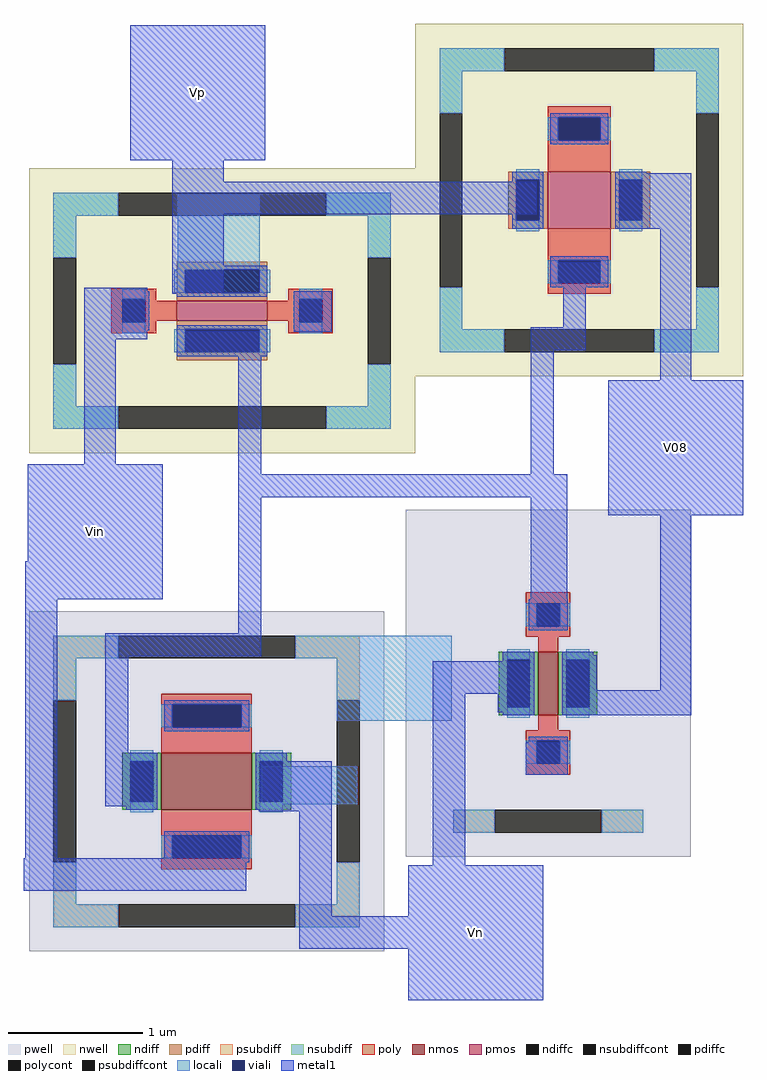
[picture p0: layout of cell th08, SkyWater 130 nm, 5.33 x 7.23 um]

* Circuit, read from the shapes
.subckt th08 Vp V08 Vin Vn
XM1 Vn Vin n1 Vn sky130_fd_pr__nfet_01v8 w=0.42 l=0.67
XM2 V08 n1 Vn Vn sky130_fd_pr__nfet_01v8 w=0.47 l=0.15
XM3 Vp Vin n1 Vp sky130_fd_pr__pfet_01v8 w=0.67 l=0.15
XM4 V08 n1 Vp Vp sky130_fd_pr__pfet_01v8 w=0.42 l=0.47
.ends

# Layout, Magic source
magic
tech sky130A
magscale 1 2
<< locali >>
rect 558 -344 680 -198
rect 794 -978 964 -852
rect 682 -1102 824 -1046
<< metal1 >>
rect 488 -148 688 52
rect 550 -180 626 -148
rect 550 -228 1090 -180
rect 420 -413 513 -337
rect 550 -346 626 -228
rect 1207 -249 1319 -167
rect 1123 -333 1185 -299
rect 420 -598 466 -413
rect 567 -435 682 -401
rect 730 -402 786 -342
rect 1129 -395 1163 -333
rect 336 -742 536 -598
rect 332 -798 536 -742
rect 648 -613 682 -435
rect 1081 -429 1163 -395
rect 1081 -613 1115 -429
rect 1273 -474 1319 -249
rect 648 -647 1135 -613
rect 332 -1182 380 -798
rect 648 -849 682 -647
rect 1081 -837 1135 -647
rect 1196 -674 1396 -474
rect 451 -883 682 -849
rect 451 -1035 485 -883
rect 936 -938 1080 -890
rect 451 -1105 521 -1035
rect 678 -1112 786 -1038
rect 538 -1182 652 -1146
rect 330 -1230 660 -1182
rect 738 -1268 786 -1112
rect 936 -1192 984 -938
rect 1032 -966 1080 -938
rect 1133 -933 1179 -881
rect 1273 -933 1319 -674
rect 1133 -970 1319 -933
rect 1074 -1058 1136 -1010
rect 900 -1268 1100 -1192
rect 738 -1316 1100 -1268
rect 900 -1392 1100 -1316
use sky130_fd_pr__nfet_01v8_LNCAWD  XM0
transform 1 0 601 0 1 -1068
box -263 -252 263 252
use sky130_fd_pr__pfet_01v8_M6KFPY  XM1
transform 0 -1 624 1 0 -371
box -211 -286 211 286
use sky130_fd_pr__pfet_01v8_NZD9V2  XM2
transform 1 0 1153 0 1 -207
box -243 -261 243 261
use sky130_fd_pr__nfet_01v8_NCP4B2  XM3
transform 1 0 1107 0 1 -923
box -211 -257 211 257
<< labels >>
flabel metal1 488 -148 688 52 0 FreeSans 256 0 0 0 Vp
port 0 nsew
flabel metal1 336 -798 536 -598 0 FreeSans 256 0 0 0 Vin
port 2 nsew
flabel metal1 1196 -674 1396 -474 0 FreeSans 256 0 0 0 V08
port 1 nsew
flabel metal1 900 -1392 1100 -1192 0 FreeSans 256 0 0 0 Vn
port 3 nsew
<< end >>

# cell sky130_fd_pr__nfet_01v8_LNCAWD: kit device sky130_fd_pr__nfet_01v8, w 0.42 l 0.67 m 1 nf 1 diffcov 100 polycov 100 guard 1 glc 1 grc 1 gtc 1 gbc 1 tbcov 100 rlcov 100 topc 1 botc 1 poverlap 0 doverlap 1 lmin 0.15 wmin 0.42 compatible {sky130_fd_pr__nfet_01v8 sky130_fd_pr__nfet_01v8_lvt sky130_fd_bs_flash__special_sonosfet_star sky130_fd_pr__nfet_g5v0d10v5 sky130_fd_pr__nfet_05v0_nvt sky130_fd_pr__nfet_03v3_nvt} full_metal 1 viasrc 100 viadrn 100 viagate 100 viagb 0 viagr 0 viagl 0 viagt 0

# cell sky130_fd_pr__pfet_01v8_M6KFPY: kit device sky130_fd_pr__pfet_01v8, w 0.67 l 0.15 m 1 nf 1 diffcov 100 polycov 100 guard 1 glc 1 grc 1 gtc 1 gbc 1 tbcov 100 rlcov 100 topc 1 botc 1 poverlap 0 doverlap 1 lmin 0.15 wmin 0.42 compatible {sky130_fd_pr__pfet_01v8 sky130_fd_pr__pfet_01v8_lvt sky130_fd_pr__pfet_01v8_hvt sky130_fd_pr__pfet_g5v0d10v5} full_metal 1 viasrc 100 viadrn 100 viagate 100 viagb 0 viagr 0 viagl 0 viagt 0

# cell sky130_fd_pr__pfet_01v8_NZD9V2: kit device sky130_fd_pr__pfet_01v8, w 0.42 l 0.47 m 1 nf 1 diffcov 100 polycov 100 guard 1 glc 1 grc 1 gtc 1 gbc 1 tbcov 100 rlcov 100 topc 1 botc 1 poverlap 0 doverlap 1 lmin 0.15 wmin 0.42 compatible {sky130_fd_pr__pfet_01v8 sky130_fd_pr__pfet_01v8_lvt sky130_fd_pr__pfet_01v8_hvt sky130_fd_pr__pfet_g5v0d10v5} full_metal 1 viasrc 100 viadrn 100 viagate 100 viagb 0 viagr 0 viagl 0 viagt 0

# cell sky130_fd_pr__nfet_01v8_NCP4B2: kit device sky130_fd_pr__nfet_01v8, w 0.468 l 0.15 m 1 nf 1 diffcov 100 polycov 100 guard 1 glc 1 grc 1 gtc 1 gbc 1 tbcov 100 rlcov 100 topc 1 botc 1 poverlap 0 doverlap 1 lmin 0.15 wmin 0.42 compatible {sky130_fd_pr__nfet_01v8 sky130_fd_pr__nfet_01v8_lvt sky130_fd_bs_flash__special_sonosfet_star sky130_fd_pr__nfet_g5v0d10v5 sky130_fd_pr__nfet_05v0_nvt sky130_fd_pr__nfet_03v3_nvt} full_metal 1 viasrc 100 viadrn 100 viagate 100 viagb 0 viagr 0 viagl 0 viagt 0
